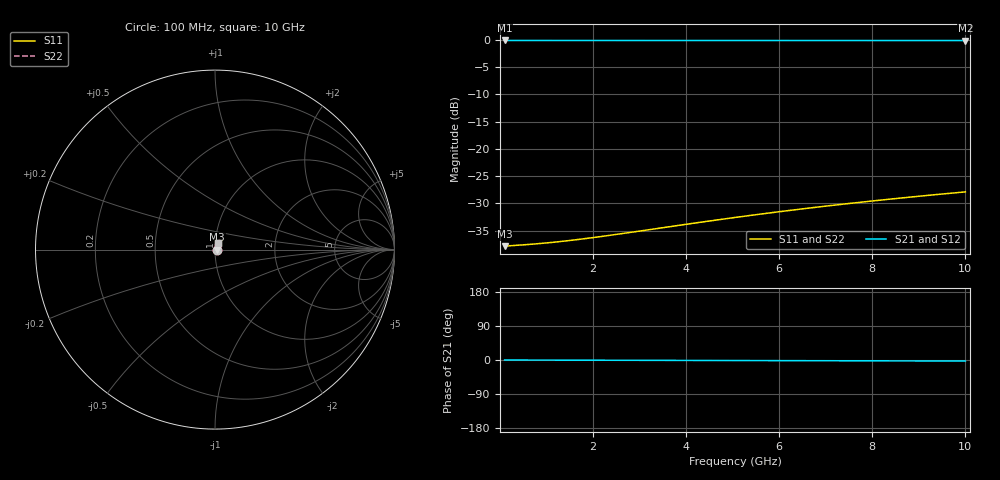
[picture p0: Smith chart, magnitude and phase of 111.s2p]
# Hz S RI R 50.00
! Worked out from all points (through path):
!   100 points, 100 MHz to 10 GHz, reference 50 ohm
!   highest |S21| = -0.11 dB at 100 MHz (marker M1); lowest = -0.1 dB at 10 GHz (marker M2)
!   lowest |S11| = -37.9 dB at 100 MHz (marker M3), VSWR 1.03, Z = 51.3 + j0.0383 ohm
!   |S11| at or under -10 dB: start of sweep to end of sweep
!   |S22| runs from -37.9 to -27.9 dB; largest |S21 - S12| = 0
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1e8  0.0128 0.000373  0.9872 -0.000478  0.9872 -0.000478  0.0128 0.000373
6e8  0.0131 0.00224  0.9869 -0.00287  0.9869 -0.00287  0.0131 0.00224
8e8  0.0131 0.00298  0.9869 -0.00382  0.9869 -0.00382  0.0131 0.00298
1e9  0.0132 0.00373  0.9868 -0.00478  0.9868 -0.00478  0.0132 0.00373
1.2e9  0.0132 0.00447  0.9867 -0.00573  0.9867 -0.00573  0.0132 0.00447
1.4e9  0.0133 0.00522  0.9867 -0.00669  0.9867 -0.00669  0.0133 0.00522
1.8e9  0.0134 0.0067  0.9866 -0.0086  0.9866 -0.0086  0.0134 0.0067
2.1e9  0.0134 0.00782  0.9866 -0.01  0.9866 -0.01  0.0134 0.00782
2.4e9  0.0135 0.00894  0.9865 -0.0115  0.9865 -0.0115  0.0135 0.00894
2.8e9  0.0136 0.0104  0.9864 -0.0134  0.9864 -0.0134  0.0136 0.0104
3.4e9  0.0137 0.0127  0.9863 -0.0162  0.9863 -0.0162  0.0137 0.0127
4.3e9  0.0139 0.016  0.9861 -0.0205  0.9861 -0.0205  0.0139 0.016
5.1e9  0.0141 0.019  0.9859 -0.0243  0.9859 -0.0243  0.0141 0.019
5.5e9  0.0142 0.0205  0.9858 -0.0262  0.9858 -0.0262  0.0142 0.0205
5.9e9  0.0143 0.0219  0.9857 -0.0282  0.9857 -0.0282  0.0143 0.0219
6.3e9  0.0144 0.0234  0.9856 -0.0301  0.9856 -0.0301  0.0144 0.0234
6.7e9  0.0145 0.0249  0.9855 -0.032  0.9855 -0.032  0.0145 0.0249
7.5e9  0.0147 0.0279  0.9852 -0.0358  0.9852 -0.0358  0.0147 0.0279
7.9e9  0.0149 0.0294  0.9851 -0.0377  0.9851 -0.0377  0.0149 0.0294
8.4e9  0.015 0.0312  0.9849 -0.0401  0.9849 -0.0401  0.015 0.0312
9.2e9  0.0153 0.0342  0.9846 -0.0439  0.9846 -0.0439  0.0153 0.0342
1e10  0.0156 0.0371  0.9843 -0.0477  0.9843 -0.0477  0.0156 0.0371
